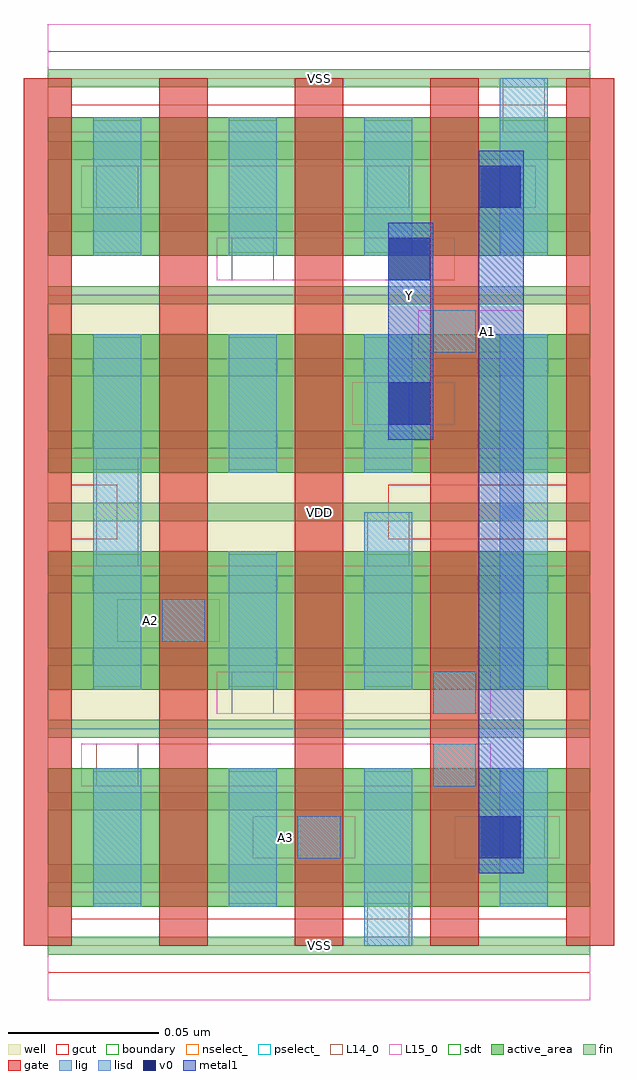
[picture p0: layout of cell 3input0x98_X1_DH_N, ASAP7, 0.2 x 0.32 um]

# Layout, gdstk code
import gdstk
lib = gdstk.Library(unit=1e-6, precision=1e-09)
def R(c, l, rs):  # rectangles x0, y0, x1, y1
    for r in rs: c.add(gdstk.rectangle(r[:2], r[2:], *l))
def A(c, l, x, y, w, h, nx, ny, dx, dy):  # array of equal rectangles
    R(c, l, [(x+i*dx, y+j*dy, x+i*dx+w, y+j*dy+h) for i in range(nx) for j in range(ny)])
def P(c, l, *ps):  # polygons
    for p in ps: c.add(gdstk.Polygon(p, *l))
well = (1, 0)
fin = (2, 0)
gate = (7, 0)
gcut = (10, 0)
active_area = (11, 0)
nselect_ = (12, 0)
pselect_ = (13, 0)
L14_0 = (14, 0)
L15_0 = (15, 0)
lig = (16, 0)
lisd = (17, 0)
v0 = (18, 0)
metal1 = (19, 0)
sdt = (88, 0)
boundary = (100, 0)

c_3input0x98_x1_dh_n = lib.new_cell('3input0x98_X1_DH_N')
R(c_3input0x98_x1_dh_n, well, [(0,0.072,0.18,0.144), (0,0.144,0.18,0.216)])
A(c_3input0x98_x1_dh_n, fin, 0, -0.003, 0.18, 0.006, 1, 13, 0, 0.024)
A(c_3input0x98_x1_dh_n, gate, -0.008, 0, 0.016, 0.288, 5, 1, 0.045, 0)
P(c_3input0x98_x1_dh_n, gcut, [(0,-0.009),(0,0),(-0.008,0),(-0.008,0.279),(0.008,0.279),(0.008,0.153),(0.023,0.153),(0.023,0.135),(0.008,0.135),(0.008,0.009),(0.172,0.009),(0.172,0.135),(0.113,0.135),(0.113,0.153),(0.172,0.153),(0.172,0.279),(-0.008,0.279),(-0.008,0.288),(0,0.288),(0,0.297),(0.18,0.297),(0.18,0.288),(0.188,0.288),(0.188,0),(0.18,0),(0.18,-0.009)])
A(c_3input0x98_x1_dh_n, active_area, 0, 0.013, 0.18, 0.046, 1, 4, 0, 0.072)
R(c_3input0x98_x1_dh_n, nselect_, [(0,0,0.18,0.072), (0,0.216,0.18,0.288)])
R(c_3input0x98_x1_dh_n, pselect_, [(0,0.072,0.18,0.144), (0,0.144,0.18,0.216)])
R(c_3input0x98_x1_dh_n, L14_0, [(0.106,0,0.12,0.018), (0.083,0.029,0.097,0.043), (0.151,0.029,0.165,0.043), (0.016,0.053,0.03,0.067), (0.128,0.053,0.142,0.067), (0.061,0.077,0.075,0.091), (0.128,0.077,0.142,0.091), (0.038,0.101,0.052,0.115), (0.016,0.126,0.03,0.144), (0.106,0.126,0.12,0.144), (0.016,0.144,0.03,0.162), (0.106,0.173,0.12,0.187), (0.128,0.197,0.142,0.211), (0.061,0.221,0.075,0.235), (0.016,0.245,0.03,0.259), (0.106,0.245,0.12,0.259), (0.151,0.27,0.165,0.288)])
A(c_3input0x98_x1_dh_n, L15_0, 0, -0.018, 0.18, 0.036, 1, 3, 0, 0.144)
R(c_3input0x98_x1_dh_n, L15_0, [(0.068,0.029,0.102,0.043), (0.135,0.029,0.17,0.043), (0.011,0.053,0.147,0.067), (0.056,0.077,0.147,0.091), (0.023,0.101,0.057,0.115), (0.101,0.173,0.135,0.187), (0.123,0.197,0.158,0.211), (0.056,0.221,0.135,0.235), (0.011,0.245,0.162,0.259)])
R(c_3input0x98_x1_dh_n, lig, [(0.083,0.029,0.097,0.043), (0.128,0.053,0.142,0.067), (0.128,0.077,0.142,0.091), (0.038,0.101,0.052,0.115), (0.128,0.197,0.142,0.211)])
A(c_3input0x98_x1_dh_n, lisd, 0.06, 0.013, 0.016, 0.046, 1, 3, 0, 0.072)
A(c_3input0x98_x1_dh_n, lisd, 0.015, 0.229, 0.016, 0.046, 3, 1, 0.045, 0)
R(c_3input0x98_x1_dh_n, lisd, [(0.105,0,0.121,0.059), (0.015,0.013,0.031,0.059), (0.15,0.013,0.166,0.059), (0.015,0.085,0.031,0.203), (0.105,0.085,0.121,0.144), (0.15,0.085,0.166,0.203), (0.105,0.157,0.121,0.203), (0.15,0.229,0.166,0.288)])
R(c_3input0x98_x1_dh_n, v0, [(0.143,0.029,0.157,0.043), (0.113,0.173,0.127,0.187), (0.113,0.221,0.127,0.235), (0.143,0.245,0.157,0.259)])
R(c_3input0x98_x1_dh_n, metal1, [(0.143,0.024,0.158,0.264), (0.113,0.168,0.128,0.24)])
A(c_3input0x98_x1_dh_n, sdt, 0.015, 0.014, 0.016, 0.044, 4, 4, 0.045, 0.072)
R(c_3input0x98_x1_dh_n, boundary, [(0,0,0.18,0.288)])
c_3input0x98_x1_dh_n.add(gdstk.Label('A1', (0.146,0.204), layer=15, texttype=251))
c_3input0x98_x1_dh_n.add(gdstk.Label('VSS', (0.09,0), layer=15, texttype=251))
c_3input0x98_x1_dh_n.add(gdstk.Label('VDD', (0.09,0.144), layer=15, texttype=251))
c_3input0x98_x1_dh_n.add(gdstk.Label('VDD', (0.09,0.144), layer=15, texttype=251))
c_3input0x98_x1_dh_n.add(gdstk.Label('VSS', (0.09,0.288), layer=15, texttype=251))
c_3input0x98_x1_dh_n.add(gdstk.Label('VSS', (0.09,0), layer=15, texttype=251))
c_3input0x98_x1_dh_n.add(gdstk.Label('VDD', (0.09,0.144), layer=15, texttype=251))
c_3input0x98_x1_dh_n.add(gdstk.Label('VDD', (0.09,0.144), layer=15, texttype=251))
c_3input0x98_x1_dh_n.add(gdstk.Label('VSS', (0.09,0.288), layer=15, texttype=251))
c_3input0x98_x1_dh_n.add(gdstk.Label('A3', (0.079,0.036), layer=15, texttype=251))
c_3input0x98_x1_dh_n.add(gdstk.Label('VSS', (0.09,0), layer=15, texttype=251))
c_3input0x98_x1_dh_n.add(gdstk.Label('VDD', (0.09,0.144), layer=15, texttype=251))
c_3input0x98_x1_dh_n.add(gdstk.Label('VDD', (0.09,0.144), layer=15, texttype=251))
c_3input0x98_x1_dh_n.add(gdstk.Label('VSS', (0.09,0.288), layer=15, texttype=251))
c_3input0x98_x1_dh_n.add(gdstk.Label('A2', (0.034,0.108), layer=15, texttype=251))
c_3input0x98_x1_dh_n.add(gdstk.Label('VSS', (0.09,0), layer=15, texttype=251))
c_3input0x98_x1_dh_n.add(gdstk.Label('VDD', (0.09,0.144), layer=15, texttype=251))
c_3input0x98_x1_dh_n.add(gdstk.Label('VDD', (0.09,0.144), layer=15, texttype=251))
c_3input0x98_x1_dh_n.add(gdstk.Label('VSS', (0.09,0.288), layer=15, texttype=251))
c_3input0x98_x1_dh_n.add(gdstk.Label('VSS', (0.09,0), layer=3, texttype=251))
c_3input0x98_x1_dh_n.add(gdstk.Label('VSS', (0.09,0.288), layer=3, texttype=251))
c_3input0x98_x1_dh_n.add(gdstk.Label('VSS', (0.09,0), layer=3, texttype=251))
c_3input0x98_x1_dh_n.add(gdstk.Label('VSS', (0.09,0.288), layer=3, texttype=251))
c_3input0x98_x1_dh_n.add(gdstk.Label('VSS', (0.09,0), layer=3, texttype=251))
c_3input0x98_x1_dh_n.add(gdstk.Label('VSS', (0.09,0.288), layer=3, texttype=251))
c_3input0x98_x1_dh_n.add(gdstk.Label('VSS', (0.09,0), layer=3, texttype=251))
c_3input0x98_x1_dh_n.add(gdstk.Label('VSS', (0.09,0.288), layer=3, texttype=251))
c_3input0x98_x1_dh_n.add(gdstk.Label('VDD', (0.09,0.144), layer=1, texttype=251))
c_3input0x98_x1_dh_n.add(gdstk.Label('VDD', (0.09,0.144), layer=1, texttype=251))
c_3input0x98_x1_dh_n.add(gdstk.Label('VDD', (0.09,0.144), layer=1, texttype=251))
c_3input0x98_x1_dh_n.add(gdstk.Label('VDD', (0.09,0.144), layer=1, texttype=251))
c_3input0x98_x1_dh_n.add(gdstk.Label('VDD', (0.09,0.144), layer=1, texttype=251))
c_3input0x98_x1_dh_n.add(gdstk.Label('VDD', (0.09,0.144), layer=1, texttype=251))
c_3input0x98_x1_dh_n.add(gdstk.Label('VDD', (0.09,0.144), layer=1, texttype=251))
c_3input0x98_x1_dh_n.add(gdstk.Label('VDD', (0.09,0.144), layer=1, texttype=251))
c_3input0x98_x1_dh_n.add(gdstk.Label('Y', (0.12,0.216), layer=19, texttype=251))

lib.write_gds('3input0x98_X1_DH_N.gds')
